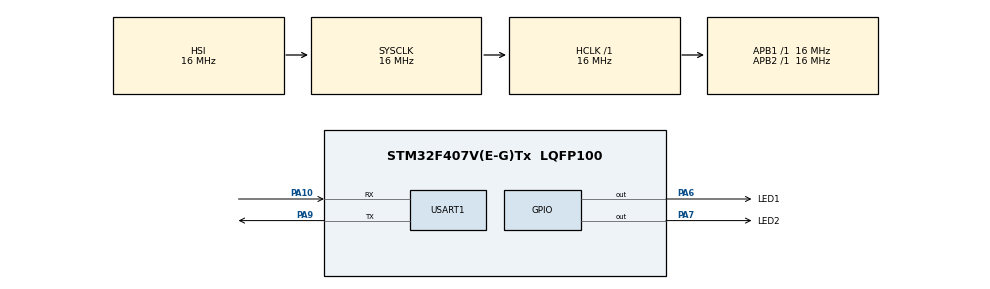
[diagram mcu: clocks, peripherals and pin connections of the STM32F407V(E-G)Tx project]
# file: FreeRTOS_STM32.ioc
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FREERTOS.Tasks01=defaultTask,24,128,StartDefaultTask,Default,NULL,Dynamic,NULL,NULL
FREERTOS.configUSE_NEWLIB_REENTRANT=1
Mcu.Family=STM32F4
Mcu.Name=STM32F407V(E-G)Tx
Mcu.Package=LQFP100
NVIC.PriorityGroup=NVIC_PRIORITYGROUP_4
NVIC.TIM1_UP_TIM10_IRQn=true\:15\:0\:false\:false\:true\:false\:false\:true\:true
NVIC.TimeBase=TIM1_UP_TIM10_IRQn
NVIC.TimeBaseIP=TIM1
PA10.Mode=Asynchronous
PA10.Signal=USART1_RX
PA6.GPIO_Label=LED1
PA6.GPIO_ModeDefaultOutputPP=GPIO_MODE_OUTPUT_PP
PA6.GPIO_PuPd=GPIO_NOPULL
PA6.Signal=GPIO_Output
PA7.GPIO_Label=LED2
PA7.Signal=GPIO_Output
PA9.Mode=Asynchronous
PA9.Signal=USART1_TX
ProjectManager.HeapSize=0x200
ProjectManager.StackSize=0x400
ProjectManager.TargetToolchain=STM32CubeIDE
RCC.AHBFreq_Value=16000000
RCC.APB1Freq_Value=16000000
RCC.APB2Freq_Value=16000000
RCC.CortexFreq_Value=16000000
RCC.HSE_VALUE=25000000
RCC.HSI_VALUE=16000000
RCC.LSE_VALUE=32768
RCC.SYSCLKFreq_VALUE=16000000
RCC.VCOOutputFreq_Value=192000000
USART1.VirtualMode=VM_ASYNC
VP_FREERTOS_VS_CMSIS_V2.Mode=CMSIS_V2
VP_SYS_VS_tim1.Mode=TIM1
board=custom

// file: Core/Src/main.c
/* USER CODE BEGIN Header */
/**
 ******************************************************************************
 * @file           : main.c
 * @brief          : Main program body
 ******************************************************************************
 * @attention
 *
 * Copyright (c) 2022 STMicroelectronics.
 * All rights reserved.
 *
 * This software is licensed under terms that can be found in the LICENSE file
 * in the root directory of this software component.
 * If no LICENSE file comes with this software, it is provided AS-IS.
 *
 ******************************************************************************
 */
/* USER CODE END Header */

#include "main.h"
#include "cmsis_os.h"

/* USER CODE BEGIN Includes */

#include <stdio.h>
//#include "task_000.h"
//#include "task_010_killing.h"
//#include "task_011_blocking.h"
//#include "task_012_run_periodically.h"
//#include "task_013_idle_task.h"
//#include "task_014_queues.h"
//#include "task_015_synching_queues.h"
//#include "task_017_queue_sets.h"
//#include "task_018_semaphores.h"
//#include "task_019_drivers.h"
//#include "task_020_mutex.h"
//#include "task_021_counting_semaphore.h"
//#include "task_022_gatekeeper.h"
//#include "task_023_software_timers.h"
//#include "task_025_interacting_with_drivers.h"
//#include "task_026_interacting_with_drivers_UARTinterrupt.h"
//#include "task_027_UARTRX_Interrupt_Receiving_PKG.h"
//#include "task_028_event_groups.h"
//#include "task_029_event_groups_multiple_setters.h"
//#include "task_030_syncing_tasks_with_event_groups.h"
//#include "task_031_task_notifications.h"
//#include "task_032_cmsis_tasks.h"
//#include "task_042_cmsis_semaphores.h"
//#include "task_044_cmsis_message_queue.h"
#include "task_045_cmsis_event_flags.h"
#include "uart_driver.h"
/* USER CODE END Includes */

#ifndef INC_UART_DRIVER_H_
UART_HandleTypeDef huart1;
#endif

/* Definitions for defaultTask */
osThreadId_t defaultTaskHandle;
const osThreadAttr_t defaultTask_attributes = { .name = "defaultTask", .stack_size = 128 * 4, .priority = (osPriority_t) osPriorityNormal, };

void SystemClock_Config(void);
static void MX_GPIO_Init(void);
#ifndef INC_UART_DRIVER_H_
static void MX_USART1_UART_Init(void);
#endif
void StartDefaultTask(void *argument);

/* USER CODE BEGIN PFP */
#ifndef INC_UART_DRIVER_H_
/*
 int uart1_write(int ch)
 {
 while (!(USART1->SR & 0x0080)) {}
 USART1->DR = (ch & 0xFF);
 return ch;
 }
 */

#ifdef __GNUC__
#define PUTCHAR_PROTOTYPE int __io_putchar(int ch)
#else
#define PUTCHAR_PROTOTYPE int fputc(int ch, FILE *f)
#endif

PUTCHAR_PROTOTYPE
{
    HAL_UART_Transmit(&huart1, (uint8_t*) &ch, 1, HAL_MAX_DELAY);
    return ch;
    //return uart1_write(ch);
}

__attribute__((weak))
int _write(int fd, char *ptr, int len)
{
    (void) fd;
    HAL_UART_Transmit(&huart1, (uint8_t*) ptr, len, HAL_MAX_DELAY);
    return len;
}
#endif
/* USER CODE END PFP */

int main(void)
{
    HAL_GetTick();

    /* MCU Configuration--------------------------------------------------------*/

    /* Reset of all peripherals, Initializes the Flash interface and the Systick. */
    HAL_Init();

    /* Configure the system clock */
    SystemClock_Config();

    /* Initialize all configured peripherals */
    MX_GPIO_Init();
#ifndef INC_UART_DRIVER_H_
    MX_USART1_UART_Init();
#else
    USART1_UART_TX_Init();
#endif

    /* Init scheduler */

    osKernelInitialize();
    task_file_main();

    /* Create the thread(s) */
    /* creation of defaultTask */
    defaultTaskHandle = osThreadNew(StartDefaultTask, NULL, &defaultTask_attributes);

    /* Start scheduler */
    osKernelStart();

    /* We should never get here as control is now taken by the scheduler */
    /* Infinite loop */
    while (1) {

    }
}

void SystemClock_Config(void)
{
    RCC_OscInitTypeDef RCC_OscInitStruct = { 0 };
    RCC_ClkInitTypeDef RCC_ClkInitStruct = { 0 };

    /** Configure the main internal regulator output voltage
     */
    __HAL_RCC_PWR_CLK_ENABLE();
    __HAL_PWR_VOLTAGESCALING_CONFIG(PWR_REGULATOR_VOLTAGE_SCALE1);

    /** Initializes the RCC Oscillators according to the specified parameters
     * in the RCC_OscInitTypeDef structure.
     */
    RCC_OscInitStruct.OscillatorType = RCC_OSCILLATORTYPE_HSI;
    RCC_OscInitStruct.HSIState = RCC_HSI_ON;
    RCC_OscInitStruct.HSICalibrationValue = RCC_HSICALIBRATION_DEFAULT;
    RCC_OscInitStruct.PLL.PLLState = RCC_PLL_NONE;
    if (HAL_RCC_OscConfig(&RCC_OscInitStruct) != HAL_OK) {
        Error_Handler();
    }

    /** Initializes the CPU, AHB and APB buses clocks
     */
    RCC_ClkInitStruct.ClockType = RCC_CLOCKTYPE_HCLK | RCC_CLOCKTYPE_SYSCLK | RCC_CLOCKTYPE_PCLK1 | RCC_CLOCKTYPE_PCLK2;
    RCC_ClkInitStruct.SYSCLKSource = RCC_SYSCLKSOURCE_HSI;
    RCC_ClkInitStruct.AHBCLKDivider = RCC_SYSCLK_DIV1;
    RCC_ClkInitStruct.APB1CLKDivider = RCC_HCLK_DIV1;
    RCC_ClkInitStruct.APB2CLKDivider = RCC_HCLK_DIV1;

    if (HAL_RCC_ClockConfig(&RCC_ClkInitStruct, FLASH_LATENCY_0) != HAL_OK) {
        Error_Handler();
    }
}
#ifndef INC_UART_DRIVER_H_
static void MX_USART1_UART_Init(void)
{

    huart1.Instance = USART1;
    huart1.Init.BaudRate = 115200;
    huart1.Init.WordLength = UART_WORDLENGTH_8B;
    huart1.Init.StopBits = UART_STOPBITS_1;
    huart1.Init.Parity = UART_PARITY_NONE;
    huart1.Init.Mode = UART_MODE_TX_RX;
    huart1.Init.HwFlowCtl = UART_HWCONTROL_NONE;
    huart1.Init.OverSampling = UART_OVERSAMPLING_16;
    if (HAL_UART_Init(&huart1) != HAL_OK) {
        Error_Handler();
    }

}
#endif
static void MX_GPIO_Init(void)
{
    GPIO_InitTypeDef GPIO_InitStruct = { 0 };

    /* GPIO Ports Clock Enable */
    __HAL_RCC_GPIOA_CLK_ENABLE();

    /*Configure GPIO pin Output Level */
    HAL_GPIO_WritePin(GPIOA, LED1_Pin | LED2_Pin, GPIO_PIN_RESET);

    /*Configure GPIO pins : LED1_Pin LED2_Pin */
    GPIO_InitStruct.Pin = LED1_Pin | LED2_Pin;
    GPIO_InitStruct.Mode = GPIO_MODE_OUTPUT_PP;
    GPIO_InitStruct.Pull = GPIO_NOPULL;
    GPIO_InitStruct.Speed = GPIO_SPEED_FREQ_LOW;
    HAL_GPIO_Init(GPIOA, &GPIO_InitStruct);

}

void StartDefaultTask(void *argument)
{
    for (;;) {
        osDelay(1);
    }
}

void HAL_TIM_PeriodElapsedCallback(TIM_HandleTypeDef *htim)
{
    if (htim->Instance == TIM1) {
        HAL_IncTick();
    }
}

void Error_Handler(void)
{
    __disable_irq();
    while (1) {}
}
